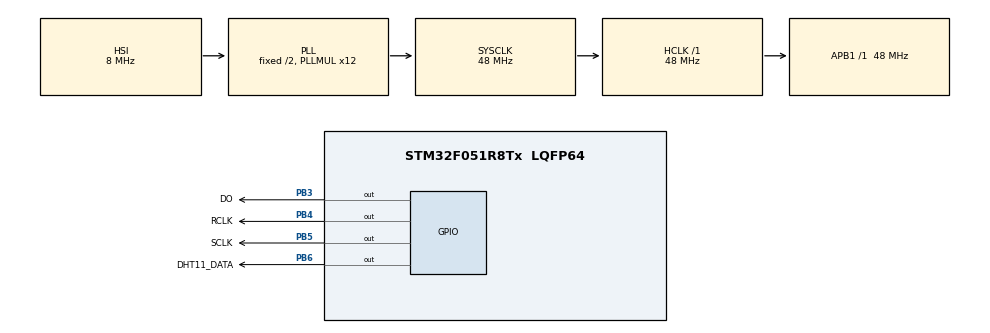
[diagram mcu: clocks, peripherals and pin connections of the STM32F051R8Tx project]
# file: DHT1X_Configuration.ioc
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Mcu.Family=STM32F0
Mcu.Name=STM32F051R8Tx
Mcu.Package=LQFP64
NVIC.TIM2_IRQn=true\:0\:0\:false\:false\:true\:true\:true\:true
PB3.GPIO_Label=DO
PB3.Signal=GPIO_Output
PB4.GPIO_Label=RCLK
PB4.Signal=GPIO_Output
PB5.GPIO_Label=SCLK
PB5.Signal=GPIO_Output
PB6.GPIO_Label=DHT11_DATA
PB6.GPIO_ModeDefaultOutputPP=GPIO_MODE_OUTPUT_OD
PB6.GPIO_PuPd=GPIO_NOPULL
PB6.GPIO_Speed=GPIO_SPEED_FREQ_HIGH
PB6.PinState=GPIO_PIN_SET
PB6.Signal=GPIO_Output
ProjectManager.HeapSize=0x200
ProjectManager.StackSize=0x400
ProjectManager.TargetToolchain=MDK-ARM V5.32
RCC.AHBFreq_Value=48000000
RCC.APB1Freq_Value=48000000
RCC.APB1TimFreq_Value=48000000
RCC.HCLKFreq_Value=48000000
RCC.PLLMUL=RCC_PLL_MUL12
RCC.SYSCLKFreq_VALUE=48000000
RCC.SYSCLKSource=RCC_SYSCLKSOURCE_PLLCLK
TIM2.Period=49
TIM2.Prescaler=47
TIM3.Prescaler=47
VP_TIM2_VS_ClockSourceINT.Mode=Internal
VP_TIM3_VS_ClockSourceINT.Mode=Internal
board=custom

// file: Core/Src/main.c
/* USER CODE BEGIN Header */
/**
  ******************************************************************************
  * @file           : main.c
  * @brief          : Main program body
  ******************************************************************************
  * @attention
  *
  * Copyright (c) 2023 STMicroelectronics.
  * All rights reserved.
  *
  * This software is licensed under terms that can be found in the LICENSE file
  * in the root directory of this software component.
  * If no LICENSE file comes with this software, it is provided AS-IS.
  *
  ******************************************************************************
  */
/* USER CODE END Header */
#include "main.h"

/* USER CODE BEGIN Includes */
#include "74HC595.h"
#include "DHT1X_SW.h"
/* USER CODE END Includes */

/* USER CODE BEGIN PTD */
#define LED_VALUE_0 ((uint16_t)0XC0)
#define LED_VALUE_1 ((uint16_t)0XF9)
#define LED_VALUE_2 ((uint16_t)0XA4)
#define LED_VALUE_3 ((uint16_t)0XB0)
#define LED_VALUE_4 ((uint16_t)0X99)
#define LED_VALUE_5 ((uint16_t)0X92)
#define LED_VALUE_6 ((uint16_t)0X82)
#define LED_VALUE_7 ((uint16_t)0XF8)
#define LED_VALUE_8 ((uint16_t)0X80)
#define LED_VALUE_9 ((uint16_t)0X90)
#define LED_VALUE_A ((uint16_t)0X88)
#define LED_VALUE_B ((uint16_t)0X83)
#define LED_VALUE_C ((uint16_t)0XC6)
#define LED_VALUE_D ((uint16_t)0XA1)
#define LED_VALUE_E ((uint16_t)0X86)
#define LED_VALUE_F ((uint16_t)0X8E)
#define LED_VALUE_SQUARE_UP 	((uint16_t)0X9C)
#define LED_VALUE_SQUARE_DOWN	((uint16_t)0XA3)
const uint16_t led_array[18] = {LED_VALUE_0,LED_VALUE_1, LED_VALUE_2,
LED_VALUE_3, LED_VALUE_4, LED_VALUE_5, LED_VALUE_6, LED_VALUE_7, LED_VALUE_8,
LED_VALUE_9,LED_VALUE_A,LED_VALUE_B,LED_VALUE_C, LED_VALUE_D,LED_VALUE_E,LED_VALUE_F,LED_VALUE_SQUARE_UP,LED_VALUE_SQUARE_DOWN};
uint8_t tem,humidity;
uint8_t dig_led[4]={0};
volatile uint16_t led_value;
/* USER CODE END PTD */

TIM_HandleTypeDef htim2;
TIM_HandleTypeDef htim3;

void SystemClock_Config(void);
static void MX_GPIO_Init(void);
static void MX_TIM2_Init(void);
static void MX_TIM3_Init(void);
/* USER CODE BEGIN PFP */
void tim3_delay(uint16_t time)
{
	/* delay on time microsecond */
	__HAL_TIM_SetCounter(&htim3,0);
	while(__HAL_TIM_GetCounter(&htim3)<time);
}
void set_dig_led(uint16_t value)
{
	led_value=value;
	dig_led[0]=led_value/1000;
	dig_led[1]=led_value/100%10;
	dig_led[2]=led_value/10%10;
	dig_led[3]=led_value%10;
}
void tem_display(uint8_t tem)
{
	dig_led[0]= tem/10;
	dig_led[1]= tem%10;
	dig_led[2]= 16;
	dig_led[3]=12;
}
void hum_display(int8_t hum)
{
	dig_led[0]= hum/10;
	dig_led[1]= hum%10;
	dig_led[2]= 16;
	dig_led[3]=17;
}
/* USER CODE END PFP */

int main(void)
{

  /* MCU Configuration--------------------------------------------------------*/

  /* Reset of all peripherals, Initializes the Flash interface and the Systick. */
  HAL_Init();

  /* Configure the system clock */
  SystemClock_Config();

  /* Initialize all configured peripherals */
  MX_GPIO_Init();
  MX_TIM2_Init();
  MX_TIM3_Init();
  /* USER CODE BEGIN 2 */
	HAL_TIM_Base_Start(&htim3);
	HAL_TIM_Base_Start_IT(&htim2);
	DHT1X_ReadData(&humidity,&tem);
  /* USER CODE END 2 */
//	hum_display(humidity);
  /* Infinite loop */
  while (1)
  {
		tem_display(tem);
		HAL_Delay(2000);
		hum_display(humidity);
		HAL_Delay(2000);
  }
}

void SystemClock_Config(void)
{
  RCC_OscInitTypeDef RCC_OscInitStruct = {0};
  RCC_ClkInitTypeDef RCC_ClkInitStruct = {0};

  /** Initializes the RCC Oscillators according to the specified parameters
  * in the RCC_OscInitTypeDef structure.
  */
  RCC_OscInitStruct.OscillatorType = RCC_OSCILLATORTYPE_HSI;
  RCC_OscInitStruct.HSIState = RCC_HSI_ON;
  RCC_OscInitStruct.HSICalibrationValue = RCC_HSICALIBRATION_DEFAULT;
  RCC_OscInitStruct.PLL.PLLState = RCC_PLL_ON;
  RCC_OscInitStruct.PLL.PLLSource = RCC_PLLSOURCE_HSI;
  RCC_OscInitStruct.PLL.PLLMUL = RCC_PLL_MUL12;
  RCC_OscInitStruct.PLL.PREDIV = RCC_PREDIV_DIV1;
  if (HAL_RCC_OscConfig(&RCC_OscInitStruct) != HAL_OK)
  {
    Error_Handler();
  }

  /** Initializes the CPU, AHB and APB buses clocks
  */
  RCC_ClkInitStruct.ClockType = RCC_CLOCKTYPE_HCLK|RCC_CLOCKTYPE_SYSCLK
                              |RCC_CLOCKTYPE_PCLK1;
  RCC_ClkInitStruct.SYSCLKSource = RCC_SYSCLKSOURCE_PLLCLK;
  RCC_ClkInitStruct.AHBCLKDivider = RCC_SYSCLK_DIV1;
  RCC_ClkInitStruct.APB1CLKDivider = RCC_HCLK_DIV1;

  if (HAL_RCC_ClockConfig(&RCC_ClkInitStruct, FLASH_LATENCY_1) != HAL_OK)
  {
    Error_Handler();
  }
}

static void MX_TIM2_Init(void)
{

  TIM_ClockConfigTypeDef sClockSourceConfig = {0};
  TIM_MasterConfigTypeDef sMasterConfig = {0};

  htim2.Instance = TIM2;
  htim2.Init.Prescaler = 47;
  htim2.Init.CounterMode = TIM_COUNTERMODE_UP;
  htim2.Init.Period = 49;
  htim2.Init.ClockDivision = TIM_CLOCKDIVISION_DIV1;
  htim2.Init.AutoReloadPreload = TIM_AUTORELOAD_PRELOAD_DISABLE;
  if (HAL_TIM_Base_Init(&htim2) != HAL_OK)
  {
    Error_Handler();
  }
  sClockSourceConfig.ClockSource = TIM_CLOCKSOURCE_INTERNAL;
  if (HAL_TIM_ConfigClockSource(&htim2, &sClockSourceConfig) != HAL_OK)
  {
    Error_Handler();
  }
  sMasterConfig.MasterOutputTrigger = TIM_TRGO_RESET;
  sMasterConfig.MasterSlaveMode = TIM_MASTERSLAVEMODE_DISABLE;
  if (HAL_TIMEx_MasterConfigSynchronization(&htim2, &sMasterConfig) != HAL_OK)
  {
    Error_Handler();
  }

}

static void MX_TIM3_Init(void)
{

  TIM_ClockConfigTypeDef sClockSourceConfig = {0};
  TIM_MasterConfigTypeDef sMasterConfig = {0};

  htim3.Instance = TIM3;
  htim3.Init.Prescaler = 47;
  htim3.Init.CounterMode = TIM_COUNTERMODE_UP;
  htim3.Init.Period = 65535;
  htim3.Init.ClockDivision = TIM_CLOCKDIVISION_DIV1;
  htim3.Init.AutoReloadPreload = TIM_AUTORELOAD_PRELOAD_DISABLE;
  if (HAL_TIM_Base_Init(&htim3) != HAL_OK)
  {
    Error_Handler();
  }
  sClockSourceConfig.ClockSource = TIM_CLOCKSOURCE_INTERNAL;
  if (HAL_TIM_ConfigClockSource(&htim3, &sClockSourceConfig) != HAL_OK)
  {
    Error_Handler();
  }
  sMasterConfig.MasterOutputTrigger = TIM_TRGO_RESET;
  sMasterConfig.MasterSlaveMode = TIM_MASTERSLAVEMODE_DISABLE;
  if (HAL_TIMEx_MasterConfigSynchronization(&htim3, &sMasterConfig) != HAL_OK)
  {
    Error_Handler();
  }

}

static void MX_GPIO_Init(void)
{
  GPIO_InitTypeDef GPIO_InitStruct = {0};

  /* GPIO Ports Clock Enable */
  __HAL_RCC_GPIOB_CLK_ENABLE();

  /*Configure GPIO pin Output Level */
  HAL_GPIO_WritePin(GPIOB, DO_Pin|RCLK_Pin|SCLK_Pin, GPIO_PIN_RESET);

  /*Configure GPIO pin Output Level */
  HAL_GPIO_WritePin(DHT11_DATA_GPIO_Port, DHT11_DATA_Pin, GPIO_PIN_SET);

  /*Configure GPIO pins : DO_Pin RCLK_Pin SCLK_Pin */
  GPIO_InitStruct.Pin = DO_Pin|RCLK_Pin|SCLK_Pin;
  GPIO_InitStruct.Mode = GPIO_MODE_OUTPUT_PP;
  GPIO_InitStruct.Pull = GPIO_NOPULL;
  GPIO_InitStruct.Speed = GPIO_SPEED_FREQ_LOW;
  HAL_GPIO_Init(GPIOB, &GPIO_InitStruct);

  /*Configure GPIO pin : DHT11_DATA_Pin */
  GPIO_InitStruct.Pin = DHT11_DATA_Pin;
  GPIO_InitStruct.Mode = GPIO_MODE_OUTPUT_OD;
  GPIO_InitStruct.Pull = GPIO_NOPULL;
  GPIO_InitStruct.Speed = GPIO_SPEED_FREQ_HIGH;
  HAL_GPIO_Init(DHT11_DATA_GPIO_Port, &GPIO_InitStruct);

}

void Error_Handler(void)
{
  __disable_irq();
  while (1)
  {
  }
}
